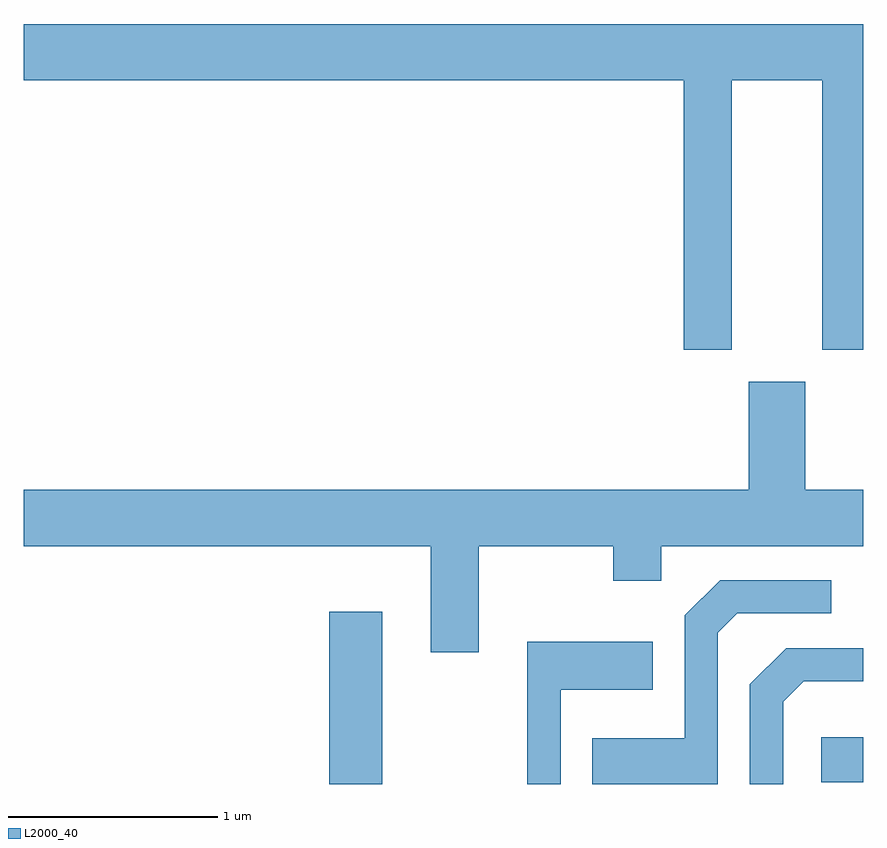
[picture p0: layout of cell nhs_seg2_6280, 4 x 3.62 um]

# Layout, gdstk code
import gdstk
lib = gdstk.Library(unit=1e-6, precision=1e-09)
def R(c, l, rs):  # rectangles x0, y0, x1, y1
    for r in rs: c.add(gdstk.rectangle(r[:2], r[2:], *l))
def P(c, l, *ps):  # polygons
    for p in ps: c.add(gdstk.Polygon(p, *l))
L2000_40 = (2000, 40)

nhs_seg2_6280 = lib.new_cell('nhs_seg2_6280')
R(nhs_seg2_6280, L2000_40, [(371.066,1093.802,371.319,1094.624), (373.411,1093.811,373.611,1094.024)])
P(nhs_seg2_6280, L2000_40, [(372.984,1097.156),(373.416,1097.156),(373.416,1095.871),(373.611,1095.871),(373.611,1097.424),(369.611,1097.424),(369.611,1097.156),(372.756,1097.156),(372.756,1095.871),(372.984,1095.871)],
  [(371.779,1094.936),(372.421,1094.936),(372.421,1094.771),(372.649,1094.771),(372.649,1094.936),(373.611,1094.936),(373.611,1095.204),(373.334,1095.204),(373.334,1095.719),(373.066,1095.719),(373.066,1095.204),(369.611,1095.204),(369.611,1094.936),(371.551,1094.936),(371.551,1094.431),(371.779,1094.431)],
  [(372.919,1094.524),(373.012,1094.616),(373.458,1094.616),(373.458,1094.774),(372.929,1094.774),(372.761,1094.607),(372.761,1094.019),(372.321,1094.019),(372.321,1093.802),(372.919,1093.802)],
  [(372.169,1094.251),(372.609,1094.251),(372.609,1094.479),(372.011,1094.479),(372.011,1093.802),(372.169,1093.802)],
  [(373.229,1094.194),(373.327,1094.291),(373.611,1094.291),(373.611,1094.449),(373.244,1094.449),(373.071,1094.277),(373.071,1093.802),(373.229,1093.802)])

lib.write_gds('nhs_seg2_6280.gds')
